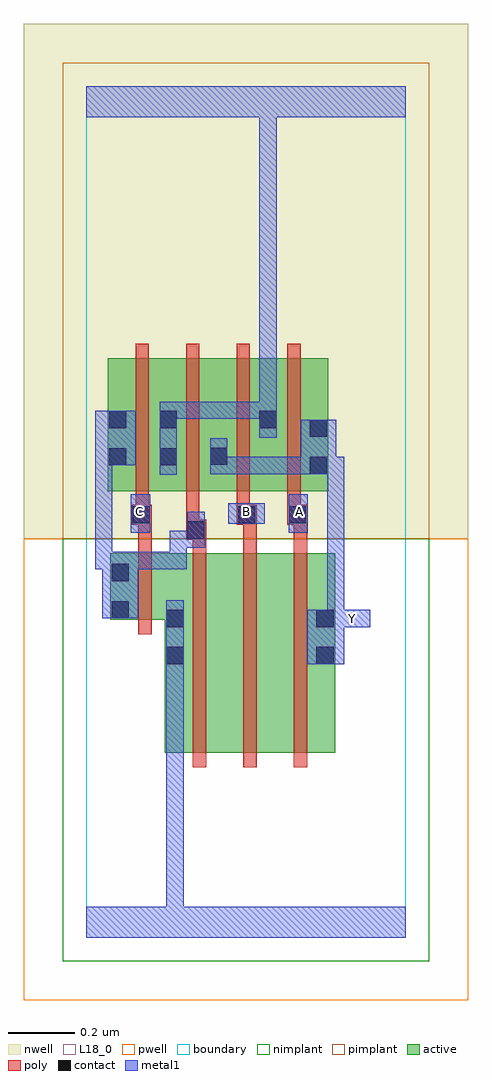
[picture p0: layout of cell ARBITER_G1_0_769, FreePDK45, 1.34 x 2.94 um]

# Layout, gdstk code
import gdstk
lib = gdstk.Library(unit=1e-6, precision=1e-09)
def R(c, l, rs):  # rectangles x0, y0, x1, y1
    for r in rs: c.add(gdstk.rectangle(r[:2], r[2:], *l))
def A(c, l, x, y, w, h, nx, ny, dx, dy):  # array of equal rectangles
    R(c, l, [(x+i*dx, y+j*dy, x+i*dx+w, y+j*dy+h) for i in range(nx) for j in range(ny)])
active = (1, 0)
pwell = (2, 0)
nwell = (3, 0)
nimplant = (4, 0)
pimplant = (5, 0)
poly = (9, 0)
contact = (10, 0)
metal1 = (11, 0)
L18_0 = (18, 0)
boundary = (235, 0)

arbiter_g1_0_769 = lib.new_cell('ARBITER_G1_0_769')
R(arbiter_g1_0_769, active, [(0.236,0.556,0.416,1.156), (0.236,0.556,0.296,1.028), (0.416,0.556,0.568,1.156), (0.568,0.556,0.748,1.156), (0.688,0.556,0.748,1.156), (0.072,0.956,0.296,1.156), (0.072,0.956,0.132,1.156), (0.064,1.342,0.124,1.644), (0.064,1.342,0.276,1.742), (0.216,1.342,0.428,1.742), (0.368,1.342,0.576,1.742), (0.516,1.342,0.728,1.742), (0.668,1.342,0.728,1.644), (0.216,1.416,0.276,1.644), (0.368,1.418,0.428,1.644), (0.516,1.528,0.576,1.644)])
R(arbiter_g1_0_769, pwell, [(-0.188,-0.188,1.148,1.2)])
R(arbiter_g1_0_769, nwell, [(-0.188,1.2,1.148,2.748)])
R(arbiter_g1_0_769, nimplant, [(-0.072,-0.072,1.032,1.2)])
R(arbiter_g1_0_769, pimplant, [(-0.072,1.2,1.032,2.632)])
A(arbiter_g1_0_769, poly, 0.32, 0.512, 0.04, 0.688, 3, 1, 0.152, 0)
A(arbiter_g1_0_769, poly, 0.148, 1.298, 0.04, 0.488, 4, 1, 0.152, 0)
R(arbiter_g1_0_769, poly, [(0.156,0.912,0.196,1.2), (0.156,1.16,0.196,1.282), (0.32,1.16,0.36,1.236), (0.472,1.16,0.512,1.282), (0.624,1.16,0.664,1.282), (0.3,1.196,0.36,1.256), (0.3,1.216,0.34,1.256), (0.3,1.216,0.34,1.256), (0.3,1.216,0.34,1.338), (0.136,1.242,0.196,1.302), (0.156,1.242,0.196,1.282), (0.156,1.242,0.196,1.282), (0.452,1.242,0.512,1.302), (0.604,1.242,0.664,1.302), (0.148,1.262,0.188,1.338), (0.452,1.262,0.492,1.338), (0.452,1.262,0.492,1.302), (0.452,1.262,0.492,1.302), (0.604,1.262,0.644,1.338), (0.604,1.262,0.644,1.302), (0.604,1.262,0.644,1.302)])
R(arbiter_g1_0_769, contact, [(0.24,0.822,0.292,0.874), (0.692,0.822,0.744,0.874), (0.24,0.934,0.292,0.986), (0.692,0.934,0.744,0.986), (0.076,0.96,0.128,1.012), (0.076,1.072,0.128,1.124), (0.304,1.2,0.356,1.252), (0.14,1.246,0.192,1.298), (0.456,1.246,0.508,1.298), (0.608,1.246,0.66,1.298), (0.672,1.394,0.724,1.446), (0.068,1.42,0.12,1.472), (0.22,1.42,0.272,1.472), (0.372,1.422,0.424,1.474), (0.672,1.506,0.724,1.558), (0.068,1.532,0.12,1.584), (0.22,1.532,0.272,1.584), (0.52,1.532,0.572,1.584)])
R(arbiter_g1_0_769, metal1, [(0,0,0.96,0.092), (0.24,0.04,0.292,0.092), (0.24,0.04,0.292,0.092), (0.24,0.04,0.292,0.846), (0.24,0.794,0.292,0.846), (0.24,0.794,0.292,0.846), (0.24,0.794,0.292,0.846), (0.24,0.794,0.292,0.846), (0.24,0.794,0.292,0.846), (0.24,0.794,0.292,0.846), (0.24,0.794,0.292,1.014), (0.664,0.822,0.776,0.986), (0.724,0.934,0.776,0.986), (0.724,0.934,0.776,1.446), (0.724,0.934,0.854,0.986), (0.048,0.96,0.156,1.124), (0.048,1.072,0.1,1.16), (0.026,1.108,0.078,1.16), (0.026,1.108,0.078,1.16), (0.026,1.108,0.078,1.472), (0.026,1.108,0.1,1.16), (0.048,1.108,0.1,1.16), (0.048,1.108,0.1,1.16), (0.048,1.108,0.302,1.16), (0.25,1.108,0.302,1.224), (0.25,1.172,0.356,1.224), (0.304,1.172,0.356,1.28), (0.134,1.218,0.192,1.334), (0.608,1.218,0.666,1.334), (0.426,1.244,0.536,1.306), (0.22,1.392,0.272,1.612), (0.372,1.394,0.424,1.446), (0.372,1.394,0.424,1.446), (0.372,1.394,0.424,1.502), (0.372,1.394,0.586,1.446), (0.534,1.394,0.586,1.446), (0.534,1.394,0.586,1.446), (0.534,1.394,0.586,1.446), (0.534,1.394,0.696,1.446), (0.644,1.394,0.752,1.558), (0.7,1.394,0.752,1.446), (0.7,1.394,0.776,1.446), (0.026,1.42,0.148,1.584), (0.52,1.504,0.572,1.612), (0.22,1.56,0.272,1.612), (0.22,1.56,0.272,1.612), (0.22,1.56,0.462,1.612), (0.41,1.56,0.462,1.612), (0.41,1.56,0.462,1.612), (0.41,1.56,0.462,1.612), (0.41,1.56,0.572,1.612), (0.52,1.56,0.572,1.612), (0.52,1.56,0.572,1.622), (0.52,1.57,0.572,1.622), (0.52,1.57,0.572,1.622), (0.52,1.57,0.572,1.622), (0.52,1.57,0.572,1.622), (0.52,1.57,0.572,2.52), (0,2.468,0.96,2.56), (0.52,2.468,0.572,2.52), (0.52,2.468,0.572,2.52), (0.52,2.468,0.572,2.52), (0.52,2.468,0.572,2.52), (0.52,2.468,0.572,2.52), (0.52,2.468,0.572,2.52), (0.52,2.468,0.572,2.52), (0.52,2.468,0.572,2.52), (0.52,2.468,0.572,2.52), (0.52,2.468,0.572,2.52)])
R(arbiter_g1_0_769, L18_0, [(0,0,0.96,0.092), (0.24,0.04,0.292,0.092), (0.24,0.04,0.292,0.092), (0.24,0.04,0.292,0.846), (0.24,0.794,0.292,0.846), (0.24,0.794,0.292,0.846), (0.24,0.794,0.292,0.846), (0.24,0.794,0.292,0.846), (0.24,0.794,0.292,0.846), (0.24,0.794,0.292,0.846), (0.24,0.794,0.292,1.014), (0.664,0.822,0.776,0.986), (0.724,0.934,0.776,0.986), (0.724,0.934,0.854,0.986), (0.724,0.934,0.776,1.446), (0.774,0.934,0.826,0.986), (0.134,1.218,0.192,1.334), (0.608,1.218,0.666,1.334), (0.426,1.244,0.536,1.306), (0.134,1.254,0.186,1.306), (0.454,1.254,0.506,1.306), (0.614,1.254,0.666,1.306), (0.22,1.392,0.272,1.612), (0.372,1.394,0.424,1.446), (0.372,1.394,0.424,1.446), (0.372,1.394,0.424,1.502), (0.372,1.394,0.586,1.446), (0.534,1.394,0.586,1.446), (0.534,1.394,0.586,1.446), (0.534,1.394,0.586,1.446), (0.534,1.394,0.696,1.446), (0.644,1.394,0.752,1.558), (0.7,1.394,0.752,1.446), (0.7,1.394,0.776,1.446), (0.52,1.504,0.572,1.612), (0.22,1.56,0.272,1.612), (0.22,1.56,0.272,1.612), (0.22,1.56,0.462,1.612), (0.41,1.56,0.462,1.612), (0.41,1.56,0.462,1.612), (0.41,1.56,0.462,1.612), (0.41,1.56,0.572,1.612), (0.52,1.56,0.572,1.612), (0.52,1.56,0.572,1.622), (0.52,1.57,0.572,1.622), (0.52,1.57,0.572,1.622), (0.52,1.57,0.572,1.622), (0.52,1.57,0.572,1.622), (0.52,1.57,0.572,2.52), (0,2.468,0.96,2.56), (0.52,2.468,0.572,2.52), (0.52,2.468,0.572,2.52), (0.52,2.468,0.572,2.52), (0.52,2.468,0.572,2.52), (0.52,2.468,0.572,2.52), (0.52,2.468,0.572,2.52), (0.52,2.468,0.572,2.52), (0.52,2.468,0.572,2.52), (0.52,2.468,0.572,2.52), (0.52,2.468,0.572,2.52)])
R(arbiter_g1_0_769, boundary, [(0,0,0.96,2.56)])
arbiter_g1_0_769.add(gdstk.Label('A', (0.64,1.28), layer=11, texttype=0))
arbiter_g1_0_769.add(gdstk.Label('B', (0.48,1.28), layer=11, texttype=0))
arbiter_g1_0_769.add(gdstk.Label('C', (0.16,1.28), layer=11, texttype=0))
arbiter_g1_0_769.add(gdstk.Label('Y', (0.8,0.96), layer=11, texttype=0))

lib.write_gds('ARBITER_G1_0_769.gds')
